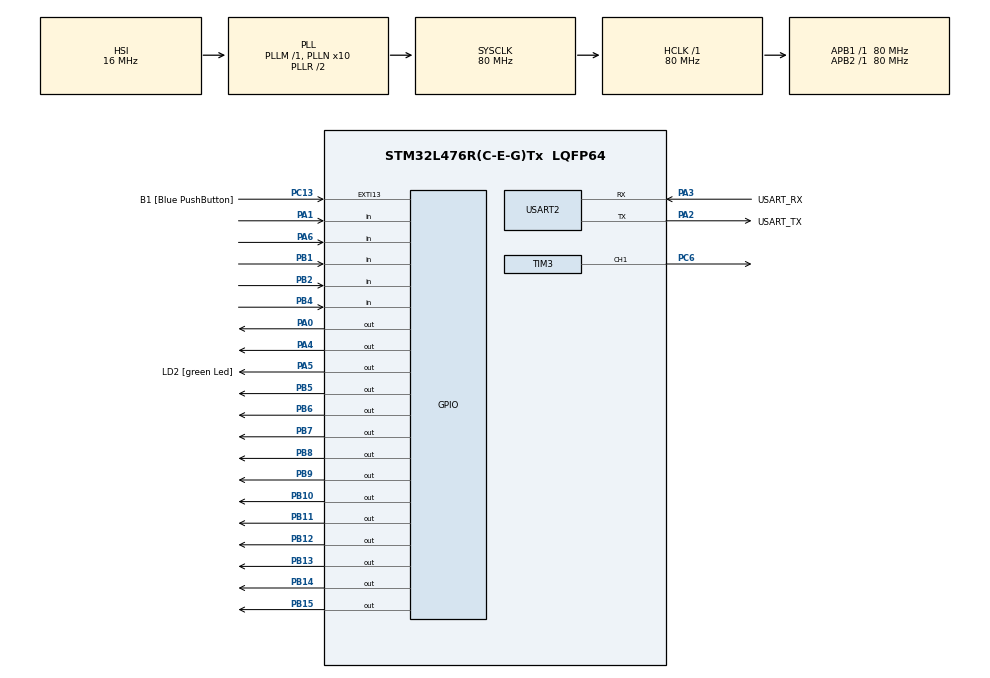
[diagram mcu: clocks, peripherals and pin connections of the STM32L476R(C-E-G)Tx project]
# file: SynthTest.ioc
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Mcu.Family=STM32L4
Mcu.Name=STM32L476R(C-E-G)Tx
Mcu.Package=LQFP64
NVIC.PriorityGroup=NVIC_PRIORITYGROUP_4
PA0.Signal=GPIO_Output
PA1.GPIO_PuPd=GPIO_PULLDOWN
PA1.Signal=GPIO_Input
PA13\ (JTMS-SWDIO).GPIO_Label=TMS
PA13\ (JTMS-SWDIO).Mode=Serial_Wire
PA13\ (JTMS-SWDIO).Signal=SYS_JTMS-SWDIO
PA14\ (JTCK-SWCLK).GPIO_Label=TCK
PA14\ (JTCK-SWCLK).Mode=Serial_Wire
PA14\ (JTCK-SWCLK).Signal=SYS_JTCK-SWCLK
PA2.GPIO_Label=USART_TX
PA2.GPIO_Mode=GPIO_MODE_AF_PP
PA2.GPIO_PuPd=GPIO_NOPULL
PA2.GPIO_Speed=GPIO_SPEED_FREQ_VERY_HIGH
PA2.Mode=Asynchronous
PA2.Signal=USART2_TX
PA3.GPIO_Label=USART_RX
PA3.GPIO_Mode=GPIO_MODE_AF_PP
PA3.GPIO_PuPd=GPIO_NOPULL
PA3.GPIO_Speed=GPIO_SPEED_FREQ_VERY_HIGH
PA3.Mode=Asynchronous
PA3.Signal=USART2_RX
PA4.Signal=GPIO_Output
PA5.GPIO_Label=LD2 [green Led]
PA5.GPIO_ModeDefaultOutputPP=GPIO_MODE_OUTPUT_PP
PA5.GPIO_PuPd=GPIO_NOPULL
PA5.GPIO_Speed=GPIO_SPEED_FREQ_LOW
PA5.Signal=GPIO_Output
PA6.GPIO_PuPd=GPIO_PULLDOWN
PA6.Signal=GPIO_Input
PB1.GPIO_PuPd=GPIO_PULLUP
PB1.Signal=GPIO_Input
PB10.GPIO_PuPd=GPIO_PULLDOWN
PB10.Signal=GPIO_Output
PB11.GPIO_PuPd=GPIO_PULLDOWN
PB11.Signal=GPIO_Output
PB12.GPIO_PuPd=GPIO_PULLDOWN
PB12.Signal=GPIO_Output
PB13.GPIO_PuPd=GPIO_PULLDOWN
PB13.Signal=GPIO_Output
PB14.GPIO_PuPd=GPIO_PULLDOWN
PB14.Signal=GPIO_Output
PB15.GPIO_PuPd=GPIO_PULLDOWN
PB15.Signal=GPIO_Output
PB2.Signal=GPIO_Input
PB3\ (JTDO-TRACESWO).GPIO_Label=SWO
PB3\ (JTDO-TRACESWO).Signal=SYS_JTDO-SWO
PB4\ (NJTRST).Signal=GPIO_Input
PB5.GPIO_PuPd=GPIO_PULLUP
PB5.PinState=GPIO_PIN_SET
PB5.Signal=GPIO_Output
PB6.Signal=GPIO_Output
PB7.Signal=GPIO_Output
PB8.GPIO_PuPd=GPIO_PULLDOWN
PB8.Signal=GPIO_Output
PB9.GPIO_PuPd=GPIO_PULLDOWN
PB9.Signal=GPIO_Output
PC13.GPIO_Label=B1 [Blue PushButton]
PC13.GPIO_ModeDefaultEXTI=GPIO_MODE_IT_FALLING
PC13.GPIO_PuPd=GPIO_NOPULL
PC13.Signal=GPXTI13
PC14-OSC32_IN\ (PC14).Mode=LSE-External-Oscillator
PC14-OSC32_IN\ (PC14).Signal=RCC_OSC32_IN
PC15-OSC32_OUT\ (PC15).Mode=LSE-External-Oscillator
PC15-OSC32_OUT\ (PC15).Signal=RCC_OSC32_OUT
PC6.Signal=S_TIM3_CH1
PH0-OSC_IN\ (PH0).Signal=RCC_OSC_IN
PH1-OSC_OUT\ (PH1).Signal=RCC_OSC_OUT
ProjectManager.HeapSize=0x200
ProjectManager.StackSize=0x400
ProjectManager.TargetToolchain=STM32CubeIDE
RCC.ADCFreq_Value=64000000
RCC.AHBFreq_Value=80000000
RCC.APB1Freq_Value=80000000
RCC.APB1TimFreq_Value=80000000
RCC.APB2Freq_Value=80000000
RCC.APB2TimFreq_Value=80000000
RCC.CortexFreq_Value=80000000
RCC.HCLKFreq_Value=80000000
RCC.HSE_VALUE=8000000
RCC.HSI_VALUE=16000000
RCC.MSI_VALUE=4000000
RCC.PLLN=10
RCC.PLLSourceVirtual=RCC_PLLSOURCE_HSI
RCC.PREFETCH_ENABLE=1
RCC.SYSCLKFreq_VALUE=80000000
RCC.SYSCLKSource=RCC_SYSCLKSOURCE_PLLCLK
RCC.USBFreq_Value=64000000
RCC.VCOOutputFreq_Value=160000000
SH.S_TIM3_CH1.0=TIM3_CH1,PWM Generation1 CH1
TIM3.Channel-PWM\ Generation1\ CH1=TIM_CHANNEL_1
TIM3.Period=4999
TIM3.Pulse-PWM\ Generation1\ CH1=2499
USART2.VirtualMode-Asynchronous=VM_ASYNC
VP_TIM2_VS_ClockSourceINT.Mode=Internal
VP_TIM3_VS_ClockSourceINT.Mode=Internal
board=NUCLEO-L476RG

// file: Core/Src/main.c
/* USER CODE BEGIN Header */
/**
  ******************************************************************************
  * @file           : main.c
  * @brief          : Main program body
  ******************************************************************************
  * @attention
  *
  * Copyright (c) 2025 STMicroelectronics.
  * All rights reserved.
  *
  * This software is licensed under terms that can be found in the LICENSE file
  * in the root directory of this software component.
  * If no LICENSE file comes with this software, it is provided AS-IS.
  *
  ******************************************************************************
  */
/* USER CODE END Header */
#include "main.h"

TIM_HandleTypeDef htim2;
TIM_HandleTypeDef htim3;

UART_HandleTypeDef huart2;

void SystemClock_Config(void);
static void MX_GPIO_Init(void);
static void MX_USART2_UART_Init(void);
static void MX_TIM2_Init(void);
static void MX_TIM3_Init(void);
/* USER CODE BEGIN PFP */
void Delay_us_TIM(TIM_HandleTypeDef *htim, uint16_t us);
/* USER CODE END PFP */

/* USER CODE BEGIN 0 */

volatile uint8_t reg1, setBit;
static int pulse_timer = 0;//registers for tracking active "beats" of the synth track

void HAL_SYSTICK_Callback(void)
{
    // 1 ms timebase from HAL / SysTick
    static uint32_t ms_counter   = 0;
    ms_counter++;

    // Every 500 ms: rotate tracks + allow a new button press
    if (ms_counter >= 500)
    {
        ms_counter = 0;

        //buttons all are not pressed
        setBit = 0; // re-allow button press

        // Rotate all three tracks left (circular shift, 8 bits)
        reg1 = (uint8_t)((reg1 << 1) | (reg1 >> 7));

        // If MSB of reg1 is 0 → trigger a short pulse
        if ((reg1 & (1 << 7)) == 0)
        {
            HAL_GPIO_WritePin(GPIOB, GPIO_PIN_5, GPIO_PIN_SET);
        }

        // Handle ~2 ms pulse on PB5/6/7
        if (((GPIOB->ODR & (1 << 5))/* | (GPIOB->ODR & (1 << 6)) | (GPIOB->ODR & (1 << 7))*/) != 0) {
                    pulse_timer++;
                    if (pulse_timer >= 200) {   // 2 ms @ 1ms tick
                        HAL_GPIO_WritePin(GPIOB, GPIO_PIN_5, GPIO_PIN_RESET);
        /*                HAL_GPIO_WritePin(GPIOB, GPIO_PIN_6, GPIO_PIN_RESET);
                        HAL_GPIO_WritePin(GPIOB, GPIO_PIN_7, GPIO_PIN_RESET);*/
                        pulse_timer = 0;
                    }
                } else {
                    pulse_timer = 0;
                }

    }
}

/* USER CODE END 0 */

int main(void)
{

  /* MCU Configuration--------------------------------------------------------*/

  /* Reset of all peripherals, Initializes the Flash interface and the Systick. */
  HAL_Init();

  /* USER CODE BEGIN Init */
  int timer_initial=0;
  int timer_final=0;
  long int dist1=0, no_dist=0;
  long int period, pulse;
  /* USER CODE END Init */

  /* Configure the system clock */
  SystemClock_Config();

  /* Initialize all configured peripherals */
  MX_GPIO_Init();
  MX_USART2_UART_Init();
  MX_TIM2_Init();
  MX_TIM3_Init();
  /* USER CODE BEGIN 2 */
  reg1 = 0b11111111; //set all tracks to 1 to initialize them as empty
  setBit = 0; //bit to use as psuedo debouncer **tempory should be deleted later or updated to use for all button operations**
  HAL_TIM_Base_Start(&htim2); // This starts the timer
  /* USER CODE END 2 */

  /* Infinite loop */
  /* USER CODE BEGIN WHILE */
  while (1)
  {
	  // The following lines sends a 10 microsecond pulse to the sensor, this is the sonar pulse that tells distance
	  HAL_GPIO_WritePin(GPIOA, GPIO_PIN_0, GPIO_PIN_SET); // turns on the trigger for the sensor
	  Delay_us_TIM(&htim2, 10); // Leaves it on for 10 microseconds
	  HAL_GPIO_WritePin(GPIOA, GPIO_PIN_0, GPIO_PIN_RESET); // Turns off the trigger for the sensor

	  // The following lines receives a signal from the echo pin of the sensor, measuring how long it is
	  __HAL_TIM_SET_COUNTER(&htim2, 0); // reset counter
	  while (!(GPIOA->IDR & (1 << 1)) && (__HAL_TIM_GET_COUNTER(&htim2) <= 5000000)); // Loops until echo is sending a signal for the first time
	  if (__HAL_TIM_GET_COUNTER(&htim2) > 5000000){ // This checks if the IDR was ever actually set
		  no_dist = 1;
	  }
	  timer_initial = __HAL_TIM_GET_COUNTER(&htim2); // This initializes the timer variable, tracking how long the pulse takes to get sent back

	  while (GPIOA->IDR & (1 << 1) && (__HAL_TIM_GET_COUNTER(&htim2)-timer_initial <= 5000000)); // Loops until echo is no longer sending a signal
	  if (__HAL_TIM_GET_COUNTER(&htim2)-timer_initial > 5000000){ // This checks if the IDR was ever actually reset
		  no_dist = 1;
	  }
	  timer_final = __HAL_TIM_GET_COUNTER(&htim2); // This is the final time

	  // The following lines calculates the distance in millimeters
	  if (!no_dist){ // If the IDR was never actually set, then the following never runs
		  dist1 = (timer_final - timer_initial) / 1600 * 1715 / 10;
	  }
	  no_dist = 0;

	  //The next few lines are where the theramin signal will be sent to the amp
	  if(dist1<40000){
	  	period = 1*dist1; // Calculate the new reload value
	  	pulse = period / 2; // Calculate the pulse value (50% duty cycle)
	  	__HAL_TIM_SET_AUTORELOAD(&htim3, period); // Change reload value
	  	__HAL_TIM_SET_COMPARE(&htim3, TIM_CHANNEL_1, pulse); // Change pulse value
	  	HAL_TIM_PWM_Start(&htim3, TIM_CHANNEL_1); // Turn on the PWM
	  } else{
	  	HAL_TIM_PWM_Stop(&htim3, TIM_CHANNEL_1); // Turn off the PWM if the sensor is out of range
	  }
	  //end code to amp

	  GPIOB->ODR = (0xFF << 8);
	  GPIOB->ODR = ((reg1 & 0xFF) << 8); //set the LED GPIO's each bit

	  if (!(GPIOB->IDR & (1 << 1)) && (setBit == 0)) { //If button is equal to 1 and the button has not been pressed this cycle update track

		  reg1 ^= (1 << 7);

		  setBit = 1;
	  }

    /* USER CODE END WHILE */

  }
}

void SystemClock_Config(void)
{
  RCC_OscInitTypeDef RCC_OscInitStruct = {0};
  RCC_ClkInitTypeDef RCC_ClkInitStruct = {0};

  /** Configure the main internal regulator output voltage
  */
  if (HAL_PWREx_ControlVoltageScaling(PWR_REGULATOR_VOLTAGE_SCALE1) != HAL_OK)
  {
    Error_Handler();
  }

  /** Initializes the RCC Oscillators according to the specified parameters
  * in the RCC_OscInitTypeDef structure.
  */
  RCC_OscInitStruct.OscillatorType = RCC_OSCILLATORTYPE_HSI;
  RCC_OscInitStruct.HSIState = RCC_HSI_ON;
  RCC_OscInitStruct.HSICalibrationValue = RCC_HSICALIBRATION_DEFAULT;
  RCC_OscInitStruct.PLL.PLLState = RCC_PLL_ON;
  RCC_OscInitStruct.PLL.PLLSource = RCC_PLLSOURCE_HSI;
  RCC_OscInitStruct.PLL.PLLM = 1;
  RCC_OscInitStruct.PLL.PLLN = 10;
  RCC_OscInitStruct.PLL.PLLP = RCC_PLLP_DIV7;
  RCC_OscInitStruct.PLL.PLLQ = RCC_PLLQ_DIV2;
  RCC_OscInitStruct.PLL.PLLR = RCC_PLLR_DIV2;
  if (HAL_RCC_OscConfig(&RCC_OscInitStruct) != HAL_OK)
  {
    Error_Handler();
  }

  /** Initializes the CPU, AHB and APB buses clocks
  */
  RCC_ClkInitStruct.ClockType = RCC_CLOCKTYPE_HCLK|RCC_CLOCKTYPE_SYSCLK
                              |RCC_CLOCKTYPE_PCLK1|RCC_CLOCKTYPE_PCLK2;
  RCC_ClkInitStruct.SYSCLKSource = RCC_SYSCLKSOURCE_PLLCLK;
  RCC_ClkInitStruct.AHBCLKDivider = RCC_SYSCLK_DIV1;
  RCC_ClkInitStruct.APB1CLKDivider = RCC_HCLK_DIV1;
  RCC_ClkInitStruct.APB2CLKDivider = RCC_HCLK_DIV1;

  if (HAL_RCC_ClockConfig(&RCC_ClkInitStruct, FLASH_LATENCY_4) != HAL_OK)
  {
    Error_Handler();
  }
}

static void MX_TIM2_Init(void)
{

  TIM_ClockConfigTypeDef sClockSourceConfig = {0};
  TIM_MasterConfigTypeDef sMasterConfig = {0};

  htim2.Instance = TIM2;
  htim2.Init.Prescaler = 0;
  htim2.Init.CounterMode = TIM_COUNTERMODE_UP;
  htim2.Init.Period = 4294967295;
  htim2.Init.ClockDivision = TIM_CLOCKDIVISION_DIV1;
  htim2.Init.AutoReloadPreload = TIM_AUTORELOAD_PRELOAD_DISABLE;
  if (HAL_TIM_Base_Init(&htim2) != HAL_OK)
  {
    Error_Handler();
  }
  sClockSourceConfig.ClockSource = TIM_CLOCKSOURCE_INTERNAL;
  if (HAL_TIM_ConfigClockSource(&htim2, &sClockSourceConfig) != HAL_OK)
  {
    Error_Handler();
  }
  sMasterConfig.MasterOutputTrigger = TIM_TRGO_RESET;
  sMasterConfig.MasterSlaveMode = TIM_MASTERSLAVEMODE_DISABLE;
  if (HAL_TIMEx_MasterConfigSynchronization(&htim2, &sMasterConfig) != HAL_OK)
  {
    Error_Handler();
  }

}

static void MX_TIM3_Init(void)
{

  TIM_ClockConfigTypeDef sClockSourceConfig = {0};
  TIM_MasterConfigTypeDef sMasterConfig = {0};
  TIM_OC_InitTypeDef sConfigOC = {0};

  htim3.Instance = TIM3;
  htim3.Init.Prescaler = 0;
  htim3.Init.CounterMode = TIM_COUNTERMODE_UP;
  htim3.Init.Period = 4999;
  htim3.Init.ClockDivision = TIM_CLOCKDIVISION_DIV1;
  htim3.Init.AutoReloadPreload = TIM_AUTORELOAD_PRELOAD_DISABLE;
  if (HAL_TIM_Base_Init(&htim3) != HAL_OK)
  {
    Error_Handler();
  }
  sClockSourceConfig.ClockSource = TIM_CLOCKSOURCE_INTERNAL;
  if (HAL_TIM_ConfigClockSource(&htim3, &sClockSourceConfig) != HAL_OK)
  {
    Error_Handler();
  }
  if (HAL_TIM_PWM_Init(&htim3) != HAL_OK)
  {
    Error_Handler();
  }
  sMasterConfig.MasterOutputTrigger = TIM_TRGO_RESET;
  sMasterConfig.MasterSlaveMode = TIM_MASTERSLAVEMODE_DISABLE;
  if (HAL_TIMEx_MasterConfigSynchronization(&htim3, &sMasterConfig) != HAL_OK)
  {
    Error_Handler();
  }
  sConfigOC.OCMode = TIM_OCMODE_PWM1;
  sConfigOC.Pulse = 2499;
  sConfigOC.OCPolarity = TIM_OCPOLARITY_HIGH;
  sConfigOC.OCFastMode = TIM_OCFAST_DISABLE;
  if (HAL_TIM_PWM_ConfigChannel(&htim3, &sConfigOC, TIM_CHANNEL_1) != HAL_OK)
  {
    Error_Handler();
  }
  HAL_TIM_MspPostInit(&htim3);

}

static void MX_USART2_UART_Init(void)
{

  huart2.Instance = USART2;
  huart2.Init.BaudRate = 115200;
  huart2.Init.WordLength = UART_WORDLENGTH_8B;
  huart2.Init.StopBits = UART_STOPBITS_1;
  huart2.Init.Parity = UART_PARITY_NONE;
  huart2.Init.Mode = UART_MODE_TX_RX;
  huart2.Init.HwFlowCtl = UART_HWCONTROL_NONE;
  huart2.Init.OverSampling = UART_OVERSAMPLING_16;
  huart2.Init.OneBitSampling = UART_ONE_BIT_SAMPLE_DISABLE;
  huart2.AdvancedInit.AdvFeatureInit = UART_ADVFEATURE_NO_INIT;
  if (HAL_UART_Init(&huart2) != HAL_OK)
  {
    Error_Handler();
  }

}

static void MX_GPIO_Init(void)
{
  GPIO_InitTypeDef GPIO_InitStruct = {0};

  /* GPIO Ports Clock Enable */
  __HAL_RCC_GPIOC_CLK_ENABLE();
  __HAL_RCC_GPIOH_CLK_ENABLE();
  __HAL_RCC_GPIOA_CLK_ENABLE();
  __HAL_RCC_GPIOB_CLK_ENABLE();

  /*Configure GPIO pin Output Level */
  HAL_GPIO_WritePin(GPIOA, GPIO_PIN_0|GPIO_PIN_4|LD2_Pin, GPIO_PIN_RESET);

  /*Configure GPIO pin Output Level */
  HAL_GPIO_WritePin(GPIOB, GPIO_PIN_10|GPIO_PIN_11|GPIO_PIN_12|GPIO_PIN_13
                          |GPIO_PIN_14|GPIO_PIN_15|GPIO_PIN_6|GPIO_PIN_7
                          |GPIO_PIN_8|GPIO_PIN_9, GPIO_PIN_RESET);

  /*Configure GPIO pin Output Level */
  HAL_GPIO_WritePin(GPIOB, GPIO_PIN_5, GPIO_PIN_SET);

  /*Configure GPIO pin : B1_Pin */
  GPIO_InitStruct.Pin = B1_Pin;
  GPIO_InitStruct.Mode = GPIO_MODE_IT_FALLING;
  GPIO_InitStruct.Pull = GPIO_NOPULL;
  HAL_GPIO_Init(B1_GPIO_Port, &GPIO_InitStruct);

  /*Configure GPIO pins : PA0 PA4 LD2_Pin */
  GPIO_InitStruct.Pin = GPIO_PIN_0|GPIO_PIN_4|LD2_Pin;
  GPIO_InitStruct.Mode = GPIO_MODE_OUTPUT_PP;
  GPIO_InitStruct.Pull = GPIO_NOPULL;
  GPIO_InitStruct.Speed = GPIO_SPEED_FREQ_LOW;
  HAL_GPIO_Init(GPIOA, &GPIO_InitStruct);

  /*Configure GPIO pins : PA1 PA6 */
  GPIO_InitStruct.Pin = GPIO_PIN_1|GPIO_PIN_6;
  GPIO_InitStruct.Mode = GPIO_MODE_INPUT;
  GPIO_InitStruct.Pull = GPIO_PULLDOWN;
  HAL_GPIO_Init(GPIOA, &GPIO_InitStruct);

  /*Configure GPIO pin : PB1 */
  GPIO_InitStruct.Pin = GPIO_PIN_1;
  GPIO_InitStruct.Mode = GPIO_MODE_INPUT;
  GPIO_InitStruct.Pull = GPIO_PULLUP;
  HAL_GPIO_Init(GPIOB, &GPIO_InitStruct);

  /*Configure GPIO pins : PB2 PB4 */
  GPIO_InitStruct.Pin = GPIO_PIN_2|GPIO_PIN_4;
  GPIO_InitStruct.Mode = GPIO_MODE_INPUT;
  GPIO_InitStruct.Pull = GPIO_NOPULL;
  HAL_GPIO_Init(GPIOB, &GPIO_InitStruct);

  /*Configure GPIO pins : PB10 PB11 PB12 PB13
                           PB14 PB15 PB8 PB9 */
  GPIO_InitStruct.Pin = GPIO_PIN_10|GPIO_PIN_11|GPIO_PIN_12|GPIO_PIN_13
                          |GPIO_PIN_14|GPIO_PIN_15|GPIO_PIN_8|GPIO_PIN_9;
  GPIO_InitStruct.Mode = GPIO_MODE_OUTPUT_PP;
  GPIO_InitStruct.Pull = GPIO_PULLDOWN;
  GPIO_InitStruct.Speed = GPIO_SPEED_FREQ_LOW;
  HAL_GPIO_Init(GPIOB, &GPIO_InitStruct);

  /*Configure GPIO pin : PB5 */
  GPIO_InitStruct.Pin = GPIO_PIN_5;
  GPIO_InitStruct.Mode = GPIO_MODE_OUTPUT_PP;
  GPIO_InitStruct.Pull = GPIO_PULLUP;
  GPIO_InitStruct.Speed = GPIO_SPEED_FREQ_LOW;
  HAL_GPIO_Init(GPIOB, &GPIO_InitStruct);

  /*Configure GPIO pins : PB6 PB7 */
  GPIO_InitStruct.Pin = GPIO_PIN_6|GPIO_PIN_7;
  GPIO_InitStruct.Mode = GPIO_MODE_OUTPUT_PP;
  GPIO_InitStruct.Pull = GPIO_NOPULL;
  GPIO_InitStruct.Speed = GPIO_SPEED_FREQ_LOW;
  HAL_GPIO_Init(GPIOB, &GPIO_InitStruct);

}

/* USER CODE BEGIN 4 */
void Delay_us_TIM(TIM_HandleTypeDef *htim, uint16_t us)
{
	HAL_TIM_Base_Start(htim); // This starts the timer
	us = 80 * us;
    __HAL_TIM_SET_COUNTER(htim, 0);  // reset counter
    while (__HAL_TIM_GET_COUNTER(htim) < us);
}
/* USER CODE END 4 */

void Error_Handler(void)
{
  __disable_irq();
  while (1)
  {
  }
}
